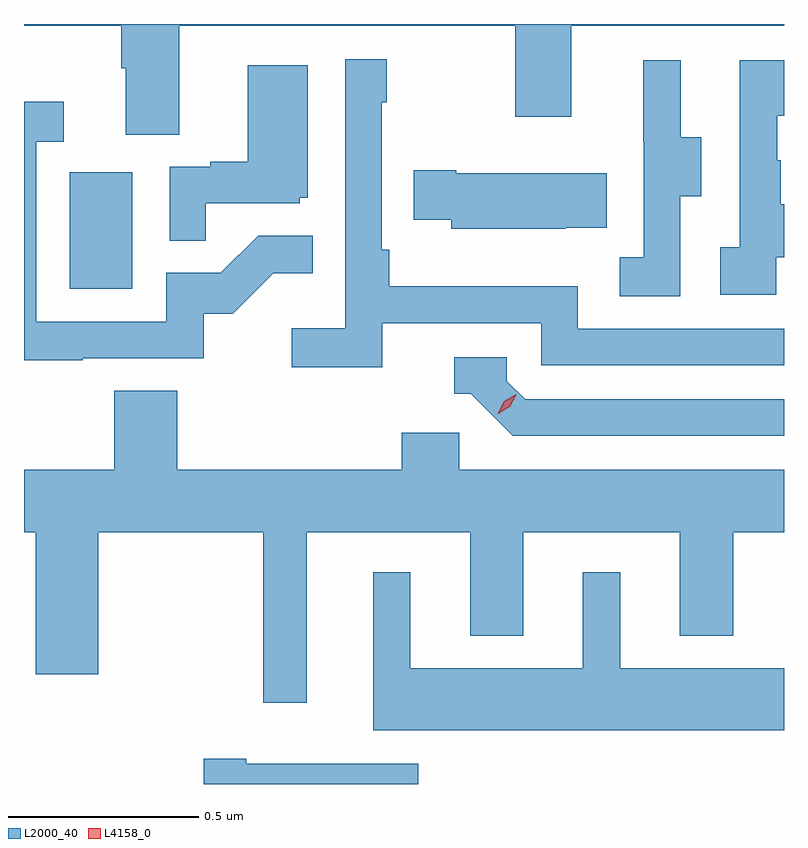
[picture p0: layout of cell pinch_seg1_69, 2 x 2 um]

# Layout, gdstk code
import gdstk
lib = gdstk.Library(unit=1e-6, precision=1e-09)
def R(c, l, rs):  # rectangles x0, y0, x1, y1
    for r in rs: c.add(gdstk.rectangle(r[:2], r[2:], *l))
def P(c, l, *ps):  # polygons
    for p in ps: c.add(gdstk.Polygon(p, *l))
L2000_40 = (2000, 40)
L4158_0 = (4158, 0)

pinch_seg1_69 = lib.new_cell('pinch_seg1_69')
R(pinch_seg1_69, L2000_40, [(1040.222,571.02,1040.386,571.327)])
P(pinch_seg1_69, L2000_40, [(1040.509,571.712),(1041.394,571.712),(1041.394,571.473),(1041.541,571.473),(1041.541,571.712),(1042.101,571.712),(1042.101,571.717),(1040.101,571.717),(1040.101,571.712),(1040.357,571.712),(1040.357,571.6),(1040.369,571.6),(1040.369,571.426),(1040.509,571.426)],
  [(1041.044,570.93),(1041.462,570.93),(1041.462,570.819),(1042.101,570.819),(1042.101,570.915),(1041.558,570.915),(1041.558,571.027),(1041.062,571.027),(1041.062,571.123),(1041.042,571.123),(1041.042,571.511),(1041.055,571.511),(1041.055,571.624),(1040.946,571.624),(1040.946,570.916),(1040.805,570.916),(1040.805,570.814),(1041.044,570.814)],
  [(1042.08,571.103),(1042.101,571.103),(1042.101,571.243),(1042.093,571.243),(1042.093,571.358),(1042.083,571.358),(1042.083,571.476),(1042.101,571.476),(1042.101,571.621),(1041.984,571.621),(1041.984,571.13),(1041.933,571.13),(1041.933,571.005),(1042.08,571.005)],
  [(1041.828,571.264),(1041.883,571.264),(1041.883,571.419),(1041.829,571.419),(1041.829,571.621),(1041.731,571.621),(1041.731,571.407),(1041.732,571.407),(1041.732,571.103),(1041.669,571.103),(1041.669,571),(1041.828,571)],
  [(1040.579,571.245),(1040.826,571.245),(1040.826,571.26),(1040.848,571.26),(1040.848,571.609),(1040.69,571.609),(1040.69,571.354),(1040.591,571.354),(1040.591,571.341),(1040.484,571.341),(1040.484,571.147),(1040.579,571.147)],
  [(1040.255,570.837),(1040.574,570.837),(1040.574,570.954),(1040.65,570.954),(1040.757,571.061),(1040.861,571.061),(1040.861,571.16),(1040.717,571.16),(1040.619,571.062),(1040.475,571.062),(1040.475,570.933),(1040.133,570.933),(1040.133,571.407),(1040.206,571.407),(1040.206,571.513),(1040.101,571.513),(1040.101,570.832),(1040.255,570.832)],
  [(1041.527,571.181),(1041.635,571.181),(1041.635,571.324),(1041.238,571.324),(1041.238,571.332),(1041.127,571.332),(1041.127,571.202),(1041.225,571.202),(1041.225,571.178),(1041.527,571.178)],
  [(1042.101,570.729),(1041.42,570.729),(1041.372,570.777),(1041.372,570.84),(1041.233,570.84),(1041.233,570.744),(1041.276,570.744),(1041.387,570.633),(1042.101,570.633)],
  [(1041.246,570.642),(1041.095,570.642),(1041.095,570.544),(1040.504,570.544),(1040.504,570.752),(1040.339,570.752),(1040.339,570.544),(1040.101,570.544),(1040.101,570.38),(1040.132,570.38),(1040.132,570.006),(1040.296,570.006),(1040.296,570.38),(1040.731,570.38),(1040.731,569.931),(1040.845,569.931),(1040.845,570.38),(1041.275,570.38),(1041.275,570.107),(1041.415,570.107),(1041.415,570.38),(1041.827,570.38),(1041.827,570.107),(1041.967,570.107),(1041.967,570.38),(1042.101,570.38),(1042.101,570.544),(1041.246,570.544)],
  [(1042.101,570.022),(1041.67,570.022),(1041.67,570.274),(1041.572,570.274),(1041.572,570.022),(1041.118,570.022),(1041.118,570.274),(1041.02,570.274),(1041.02,569.858),(1042.101,569.858)],
  [(1041.139,569.77),(1040.686,569.77),(1040.686,569.783),(1040.574,569.783),(1040.574,569.717),(1041.139,569.717)])
P(pinch_seg1_69, L4158_0, [(1041.348,570.692),(1041.348,570.692),(1041.365,570.724),(1041.396,570.743),(1041.396,570.743),(1041.396,570.742),(1041.379,570.71),(1041.349,570.692)])

lib.write_gds('pinch_seg1_69.gds')
